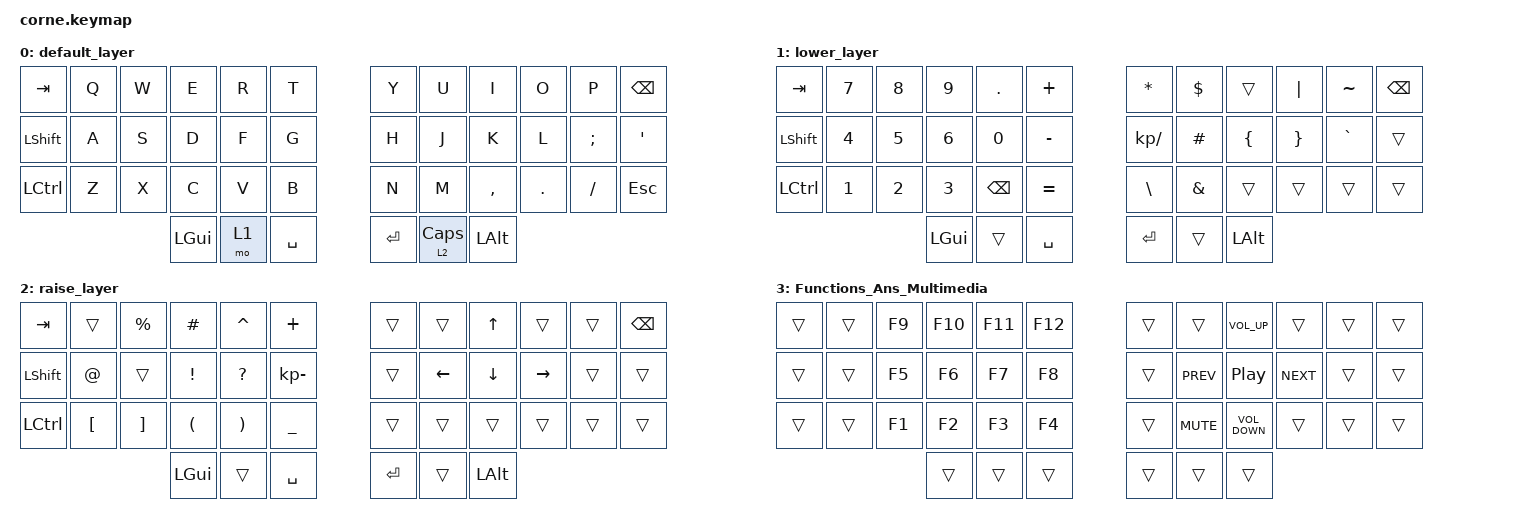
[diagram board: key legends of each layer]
/*
 * Copyright (c) 2020 The ZMK Contributors
 *
 * SPDX-License-Identifier: MIT
 */

#include <behaviors.dtsi>
#include <dt-bindings/zmk/keys.h>

/ {
    keymap {
        compatible = "zmk,keymap";

        default_layer {
            // -----------------------------------------------------------------------------------------
            // |  TAB |  Q  |  W  |  E  |  R  |  T  |   |  Y  |  U   |  I  |  O  |  P  | BSPC |
            // | CTRL |  A  |  S  |  D  |  F  |  G  |   |  H  |  J   |  K  |  L  |  ;  |  '   |
            // | SHFT |  Z  |  X  |  C  |  V  |  B  |   |  N  |  M   |  ,  |  .  |  /  | ESC  |
            //                    | GUI | LWR | SPC |   | ENT | RSE  | ALT |

            bindings = <
&kp TAB           &kp Q  &kp W  &kp E     &kp R  &kp T        &kp Y    &kp U       &kp I      &kp O    &kp P     &kp BSPC
&kp LEFT_SHIFT    &kp A  &kp S  &kp D     &kp F  &kp G        &kp H    &kp J       &kp K      &kp L    &kp SEMI  &kp SQT
&kp LEFT_CONTROL  &kp Z  &kp X  &kp C     &kp V  &kp B        &kp N    &kp M       &kp COMMA  &kp DOT  &kp FSLH  &kp ESC
                                &kp LGUI  &mo 1  &kp SPACE    &kp RET  &lt 2 CAPS  &kp LALT
            >;
        };

        lower_layer {
            // -----------------------------------------------------------------------------------------
            // |  TAB |  1  |  2  |  3  |  4  |  5  |   |  6  |  7  |  8  |  9  |  0  | BSPC |
            // | BTCLR| BT1 | BT2 | BT3 | BT4 | BT5 |   | LFT | DWN |  UP | RGT |     |      |
            // | SHFT |     |     |     |     |     |   |     |     |     |     |     |      |
            //                    | GUI |     | SPC |   | ENT |     | ALT |

            bindings = <
&kp TAB         &kp N7  &kp N8  &kp N9    &kp DOT   &kp PLUS     &kp ASTRK      &kp DOLLAR     &trans          &kp PIPE         &kp TILDE  &kp BSPC
&kp LEFT_SHIFT  &kp N4  &kp N5  &kp N6    &kp N0    &kp MINUS    &kp KP_DIVIDE  &kp HASH       &kp LEFT_BRACE  &kp RIGHT_BRACE  &kp GRAVE  &trans
&kp LCTRL       &kp N1  &kp N2  &kp N3    &kp BSPC  &kp EQUAL    &kp BACKSLASH  &kp AMPERSAND  &trans          &trans           &trans     &trans
                                &kp LGUI  &trans    &kp SPACE    &kp RET        &trans         &kp LALT
            >;
        };

        raise_layer {
            // -----------------------------------------------------------------------------------------
            // |  TAB |  !  |  @  |  #  |  $  |  %  |   |  ^  |  &  |  *  |  (  |  )  | BSPC |
            // | CTRL |     |     |     |     |     |   |  -  |  =  |  [  |  ]  |  \  |  `   |
            // | SHFT |     |     |     |     |     |   |  _  |  +  |  {  |  }  | "|" |  ~   |
            //                    | GUI |     | SPC |   | ENT |     | ALT |

            bindings = <
&kp TAB         &trans            &kp PERCENT        &kp HASH              &kp CARET              &kp PLUS        &trans   &trans          &kp UP_ARROW    &trans           &trans  &kp BSPC
&kp LEFT_SHIFT  &kp AT            &trans             &kp EXCL              &kp QUESTION           &kp KP_MINUS    &trans   &kp LEFT_ARROW  &kp DOWN_ARROW  &kp RIGHT_ARROW  &trans  &trans
&kp LCTRL       &kp LEFT_BRACKET  &kp RIGHT_BRACKET  &kp LEFT_PARENTHESIS  &kp RIGHT_PARENTHESIS  &kp UNDER       &trans   &trans          &trans          &trans           &trans  &trans
                                                     &kp LGUI              &trans                 &kp SPACE       &kp RET  &trans          &kp LALT
            >;
        };

        Functions_Ans_Multimedia {
            bindings = <
&trans  &trans  &kp F9  &kp F10  &kp F11  &kp F12    &trans  &trans      &kp C_VOLUME_UP    &trans      &trans  &trans
&trans  &trans  &kp F5  &kp F6   &kp F7   &kp F8     &trans  &kp C_PREV  &kp C_PLAY_PAUSE   &kp C_NEXT  &trans  &trans
&trans  &trans  &kp F1  &kp F2   &kp F3   &kp F4     &trans  &kp C_MUTE  &kp C_VOLUME_DOWN  &trans      &trans  &trans
                        &trans   &trans   &trans     &trans  &trans      &trans
            >;
        };
    };

    conditional_layers {
        compatible = "zmk,conditional-layers";

        functions {
            if-layers = <1 2>;
            then-layer = <3>;
        };
    };
};
